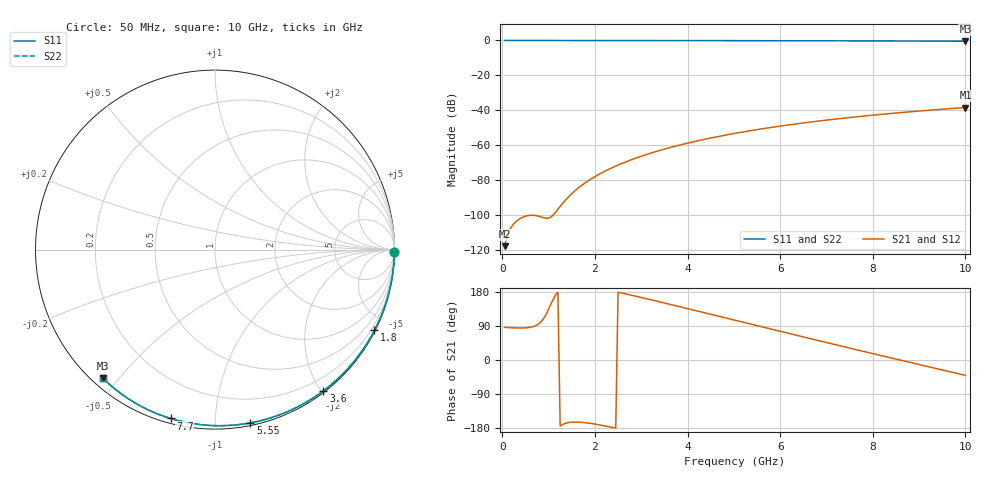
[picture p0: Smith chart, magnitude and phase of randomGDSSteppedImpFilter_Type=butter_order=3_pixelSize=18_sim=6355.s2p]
! freq	dB(S11)	phase(S11)	dB(S12)	phase(S12)
!  dB(S21)	phase(S21)	dB(S22)	phase(S22)
!S-par simulation data
#  GHz  S  DB  R 50
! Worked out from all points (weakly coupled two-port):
!   200 points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, 50 MHz to 10 GHz, reference 50 ohm
!   highest |S21| = -38.47 dB at 10 GHz (marker M1); lowest = -118.0 dB at 50 MHz (marker M2)
!   lowest |S11| = -0.4 dB at 10 GHz (marker M3), VSWR 39.20, Z = 1.54 - j22.7 ohm
!   |S11| at or under -10 dB: nowhere
!   |S22| runs from -0.4 to 0.0 dB; largest |S21 - S12| = 0
!   S11 on the Smith chart (normalised r, x): 50 MHz: open; 1.8 GHz: 0.04, -4.19; 3.6 GHz: 0.02, -2.03; 5.55 GHz: 0.02, -1.22; 7.7 GHz: 0.02, -0.77; 10 GHz: 0.03, -0.45
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0.05  -0.00 -0.8  -118.04 86.6  -118.04 86.6  -0.00 -0.8
0.9  -0.02 -13.6  -101.80 111.1  -101.80 111.1  -0.02 -13.6
1.75  -0.03 -26.1  -82.42 -164.9  -82.42 -164.9  -0.03 -26.1
1.8  -0.03 -26.9  -81.48 -165.5  -81.48 -165.5  -0.03 -26.9
1.85  -0.04 -27.6  -80.59 -166.3  -80.59 -166.3  -0.04 -27.6
1.9  -0.04 -28.3  -79.74 -167.2  -79.74 -167.2  -0.04 -28.3
2.05  -0.04 -30.5  -77.36 -170.1  -77.36 -170.1  -0.04 -30.5
2.25  -0.04 -33.4  -74.55 -174.7  -74.55 -174.7  -0.04 -33.4
2.45  -0.05 -36.3  -72.08 -179.8  -72.08 -179.8  -0.05 -36.3
2.65  -0.05 -39.2  -69.85 174.8  -69.85 174.8  -0.05 -39.2
3  -0.06 -44.1  -66.44 165.0  -66.44 165.0  -0.06 -44.1
3.4  -0.07 -49.7  -63.11 153.4  -63.11 153.4  -0.07 -49.7
3.6  -0.07 -52.5  -61.62 147.5  -61.62 147.5  -0.07 -52.5
4.3  -0.09 -62.1  -57.10 126.7  -57.10 126.7  -0.09 -62.1
5.05  -0.11 -72.0  -53.18 104.2  -53.18 104.2  -0.11 -72.0
5.55  -0.13 -78.4  -50.94 89.2  -50.94 89.2  -0.13 -78.4
6.1  -0.15 -85.4  -48.76 72.8  -48.76 72.8  -0.15 -85.4
6.7  -0.18 -92.8  -46.66 55.0  -46.66 55.0  -0.18 -92.8
7.7  -0.24 -104.8  -43.66 25.6  -43.66 25.6  -0.24 -104.8
8.35  -0.29 -112.3  -41.99 6.8  -41.99 6.8  -0.29 -112.3
9.15  -0.36 -121.5  -40.17 -16.2  -40.17 -16.2  -0.36 -121.5
10  -0.44 -131.1  -38.47 -40.5  -38.47 -40.5  -0.44 -131.1
